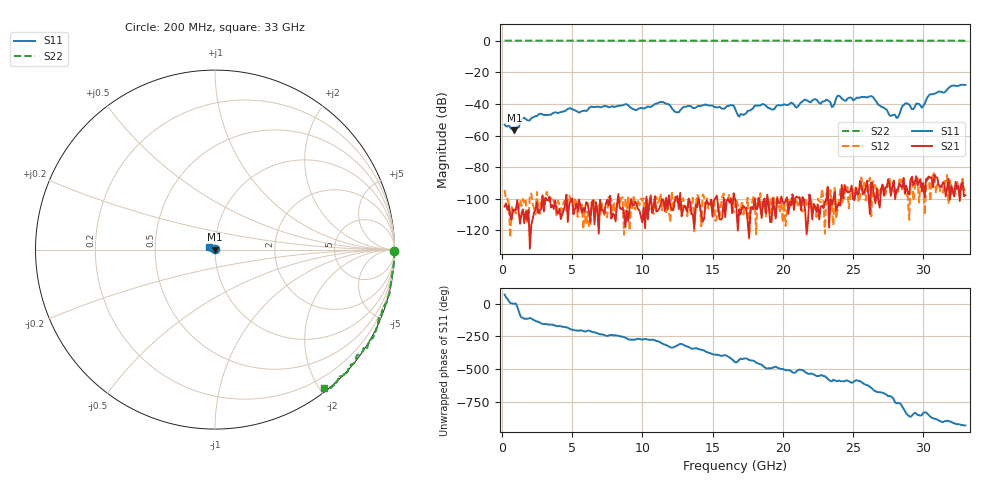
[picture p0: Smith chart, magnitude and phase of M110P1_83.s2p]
# GHZ S RI R 50
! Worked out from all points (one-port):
!   329 points, 200 MHz to 33 GHz, reference 50 ohm
!   lowest |S11| = -56.8 dB at 900 MHz (marker M1), VSWR 1.00, Z = 50.1 - j0.00507 ohm
!   |S11| at or under -10 dB: start of sweep to end of sweep
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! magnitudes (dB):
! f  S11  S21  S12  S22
! 200 MHz  -53.1  -105.0  -94.4  0.0
! 900 MHz  -56.8  -107.5  -106.7  0.0
! 1.5 GHz  -49.0  -106.7  -100.1  0.0
! 5.7 GHz  -44.6  -108.8  -103.6  0.0
! 11.2 GHz  -39.1  -106.3  -101.1  0.0
! 12.4 GHz  -45.3  -98.7  -99.9  0.0
! 14.5 GHz  -40.4  -103.2  -106.0  -0.1
! 16.6 GHz  -42.8  -100.3  -105.0  -0.1
! 16.9 GHz  -48.1  -106.5  -110.0  0.0
! 18 GHz  -41.2  -100.1  -97.9  0.0
! 21 GHz  -42.4  -98.6  -101.4  0.0
! 22.1 GHz  -37.8  -113.0  -105.8  0.0
! 23.1 GHz  -37.4  -100.7  -96.6  0.0
! 23.5 GHz  -42.0  -103.6  -106.0  0.0
! 23.9 GHz  -34.8  -104.7  -106.9  0.0
! 26.3 GHz  -35.2  -89.5  -111.1  -0.1
! 27.6 GHz  -47.3  -90.6  -86.5  -0.1
! 28.2 GHz  -48.5  -94.2  -95.6  0.0
! 28.7 GHz  -39.9  -96.8  -95.4  0.0
! 29.9 GHz  -42.4  -95.3  -90.0  -0.1
! 30.5 GHz  -33.9  -86.4  -101.5  0.0
! 33 GHz  -28.0  -97.8  -94.4  -0.2
